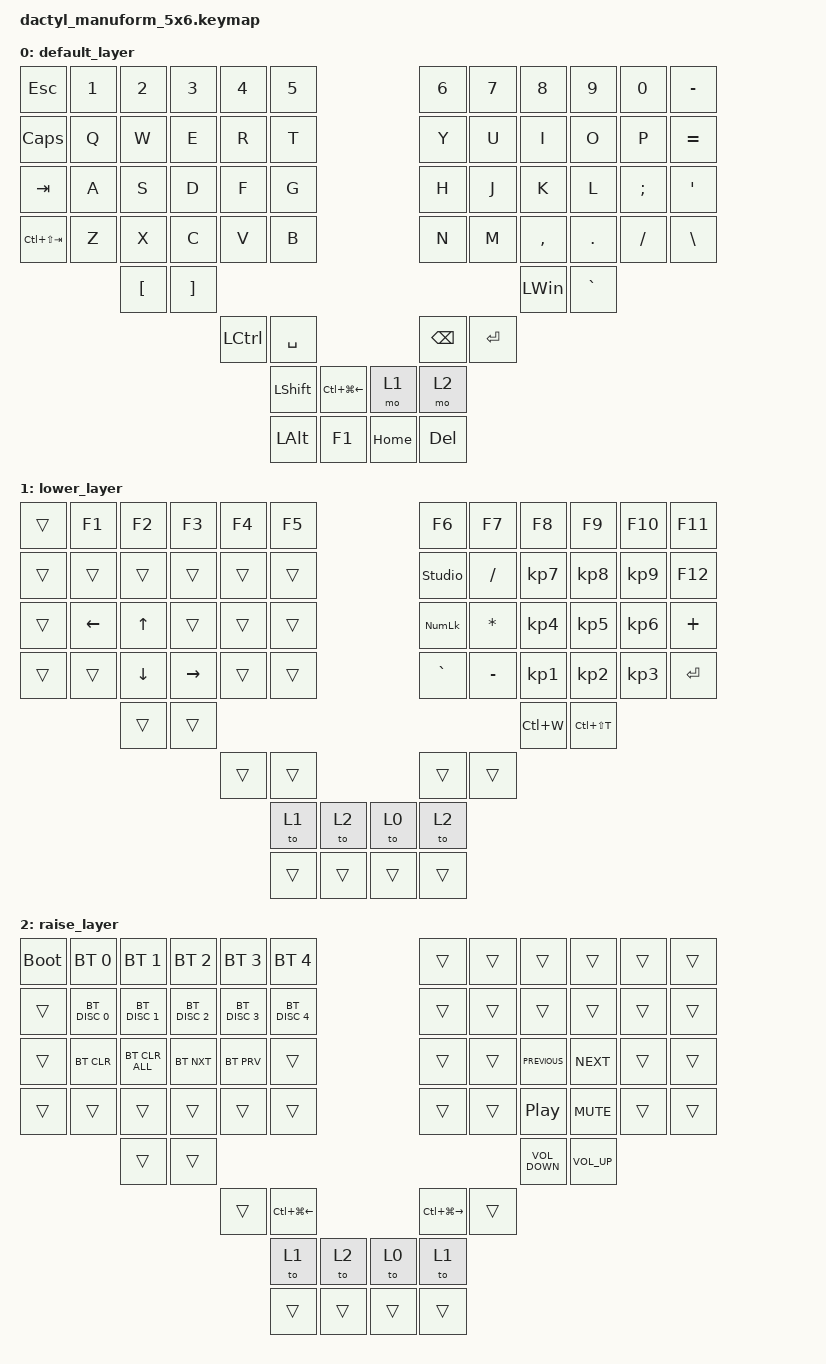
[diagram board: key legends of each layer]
#include <behaviors.dtsi>
#include <dt-bindings/zmk/bt.h>
#include <dt-bindings/zmk/keys.h>

#define DEFAULT 0
#define LWR 1
#define RSE 2
#define ADJ 3

/ {
    behaviors {
        F2_F5: F2_F5 {
            compatible = "zmk,behavior-tap-dance";
            label = "F2_F5";
            #binding-cells = <0>;
            bindings = <&kp F2>, <&kp F5>;
        };

        Bracket: Bracket {
            compatible = "zmk,behavior-tap-dance";
            label = "BRACKET";
            #binding-cells = <0>;
            bindings = <&kp LBKT>, <&kp RBKT>;
        };

        DMP: DMP {
            compatible = "zmk,behavior-tap-dance";
            label = "DMP";
            #binding-cells = <0>;
            bindings = <&kp C_VOL_DN>, <&kp C_MUTE>, <&kp C_PREVIOUS>;
        };

        UPN: UPN {
            compatible = "zmk,behavior-tap-dance";
            label = "UPN";
            #binding-cells = <0>;
            bindings = <&kp C_VOLUME_UP>, <&kp C_PLAY_PAUSE>, <&kp C_NEXT>;
        };

        BSLH_GRV: BSLH_GRV {
            compatible = "zmk,behavior-tap-dance";
            label = "BSLH_GRV";
            #binding-cells = <0>;
            bindings = <&kp BSLH>, <&kp GRAVE>;
        };
    };

    combos { compatible = "zmk,combos"; };

    keymap {
        compatible = "zmk,keymap";

        default_layer {
            bindings = <
&kp ESCAPE       &kp N1  &kp N2            &kp N3             &kp N4            &kp N5                                      &kp N6         &kp N7     &kp N8        &kp N9     &kp N0     &kp MINUS
&kp CAPSLOCK     &kp Q   &kp W             &kp E              &kp R             &kp T                                       &kp Y          &kp U      &kp I         &kp O      &kp P      &kp EQUAL
&kp TAB          &kp A   &kp S             &kp D              &kp F             &kp G                                       &kp H          &kp J      &kp K         &kp L      &kp SEMI   &kp SQT
&kp LC(LS(TAB))  &kp Z   &kp X             &kp C              &kp V             &kp B                                       &kp N          &kp M      &kp COMMA     &kp DOT    &kp SLASH  &kp BACKSLASH
                         &kp LEFT_BRACKET  &kp RIGHT_BRACKET                                                                                          &kp LEFT_WIN  &kp GRAVE
                                                              &kp LEFT_CONTROL  &kp SPACE                                   &kp BACKSPACE  &kp ENTER
                                                                                &kp LEFT_SHIFT  &kp LC(LG(LEFT))  &mo 1     &mo 2
                                                                                &kp LEFT_ALT    &kp F1            &kp HOME  &kp DEL
            >;
        };

        lower_layer {
            bindings = <
&trans  &kp F1          &kp F2          &kp F3           &kp F4  &kp F5                  &kp F6          &kp F7        &kp F8           &kp F9           &kp F10          &kp F11
&trans  &trans          &trans          &trans           &trans  &trans                  &studio_unlock  &kp SLASH     &kp KP_NUMBER_7  &kp KP_NUMBER_8  &kp KP_NUMBER_9  &kp F12
&trans  &kp LEFT_ARROW  &kp UP_ARROW    &trans           &trans  &trans                  &kp KP_NUMLOCK  &kp ASTERISK  &kp KP_NUMBER_4  &kp KP_NUMBER_5  &kp KP_NUMBER_6  &kp PLUS
&trans  &trans          &kp DOWN_ARROW  &kp RIGHT_ARROW  &trans  &trans                  &kp GRAVE       &kp MINUS     &kp KP_NUMBER_1  &kp KP_NUMBER_2  &kp KP_NUMBER_3  &kp ENTER
                        &trans          &trans                                                                         &kp LC(W)        &kp LC(LS(T))
                                                         &trans  &trans                  &trans          &trans
                                                                 &to 1   &to 2   &to 0   &to 2
                                                                 &trans  &trans  &trans  &trans
            >;
        };

        raise_layer {
            bindings = <
&bootloader  &bt BT_SEL 0   &bt BT_SEL 1    &bt BT_SEL 2   &bt BT_SEL 3   &bt BT_SEL 4                      &trans             &trans  &trans             &trans           &trans  &trans
&trans       &bt BT_DISC 0  &bt BT_DISC 1   &bt BT_DISC 2  &bt BT_DISC 3  &bt BT_DISC 4                     &trans             &trans  &trans             &trans           &trans  &trans
&trans       &bt BT_CLR     &bt BT_CLR_ALL  &bt BT_NXT     &bt BT_PRV     &trans                            &trans             &trans  &kp C_PREVIOUS     &kp C_NEXT       &trans  &trans
&trans       &trans         &trans          &trans         &trans         &trans                            &trans             &trans  &kp C_PLAY_PAUSE   &kp K_MUTE       &trans  &trans
                            &trans          &trans                                                                                     &kp C_VOLUME_DOWN  &kp C_VOLUME_UP
                                                           &trans         &kp LC(LG(LEFT))                  &kp LC(LG(RIGHT))  &trans
                                                                          &to 1             &to 2   &to 0   &to 1
                                                                          &trans            &trans  &trans  &trans
            >;
        };
    };
};
